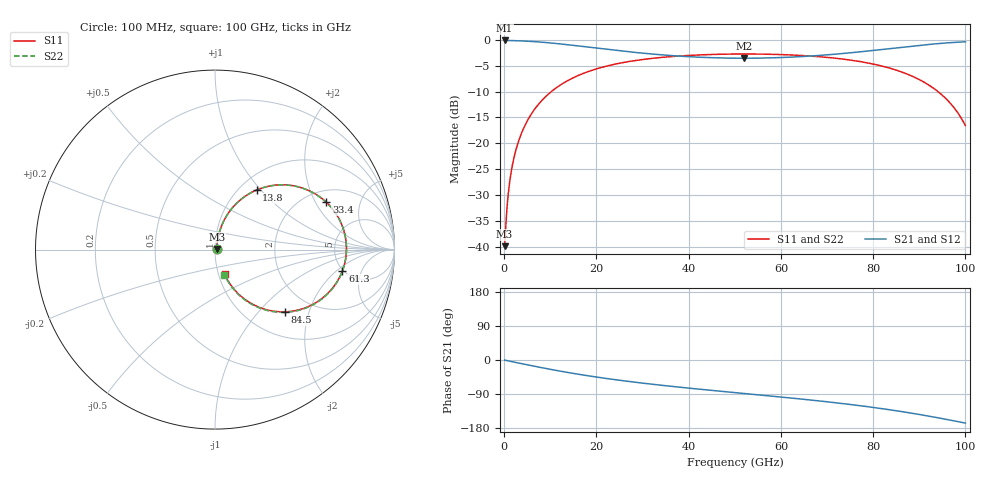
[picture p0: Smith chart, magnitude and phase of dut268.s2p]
! Touchstone file exported from HFSS 2026.1.0
!  File:  C:/ffzhzh/LocalFiles/Ansys_Project_Files/temp_train_RDL_268_1783501815_55944.aedt
!  Generated:  05:11:43 PM Jul  8, 2026
!  Design:  RDL
!  Project:  temp_train_RDL_268_1783501815_55944
! Variables:
!  h_bsmrdl = 2um
!  h_ox = 20um
!  h_rdl = 5um
!  h_sub = 80um
!  h_tmrdl = 2.04um
!  h_tsv = 80um
!  h_via = 3um
!  l_bsmrdl = 300um
!  l_sub = 966.11um
!  l_tmrdl = 566.11um
!  m_sub = 200um
!  pitch = 46.21um
!  r_tsv = 6um
!  s_tmrdl = 10um
!  w_bsmrdl = 18um
!  w_sub = 500um
!  w_tmrdl = 10.32um
!  x_tsv_center1 = 571.27um
!  x_tsv_center2 = 889.27um
!  x_tsv_center3 = 1465.7um
!  x_tsv_center4 = 1783.7um
!  x_tsv_center5 = 2360.13um
!  x_tsv_center6 = 2678.13um
# GHz S MA R 50.000000
! Terminal data exported
! Port[1] = TM_RDL1_1_T1
! Port[2] = TM_RDL1_1_T2
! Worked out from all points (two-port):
!   1000 points, 100 MHz to 100 GHz, reference 50 ohm
!   highest |S21| = -0.08 dB at 100 MHz (marker M1); lowest = -3.5 dB at 52 GHz (marker M2)
!   |S21| within 3 dB of the highest: start of sweep to 37.41 GHz; 66.72 GHz to end of sweep
!   lowest |S11| = -39.9 dB at 100 MHz (marker M3), VSWR 1.02, Z = 51 + j0.352 ohm
!   |S11| at or under -10 dB: start of sweep to 10.21 GHz; 94.08 GHz to end of sweep
!   |S22| runs from -39.9 to -2.7 dB; largest |S21 - S12| = 1.7e-14
!   S11 on the Smith chart (normalised r, x): 100 MHz: 1.02, +0.01; 13.8 GHz: 1.19, +0.95; 33.4 GHz: 2.55, +2.47; 61.3 GHz: 4.90, -2.41; 84.5 GHz: 1.47, -1.40; 100 GHz: 1.07, -0.30
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0.1  0.0101 20.0  0.9905 -0.3  0.9905 -0.3  0.0101 20.0
! Gamma 0 0 0 0
! Port Impedance 50 0 50 0
1  0.03583 70.7  0.9891 -2.6  0.9891 -2.6  0.03583 70.7
1.6  0.0553 74.6  0.9878 -4.1  0.9878 -4.1  0.05531 74.6
2.5  0.08453 76.0  0.9853 -6.4  0.9853 -6.4  0.08453 75.9
3.8  0.1264 75.0  0.9804 -9.7  0.9804 -9.7  0.1264 75.0
5.6  0.183 72.1  0.9711 -14.2  0.9711 -14.2  0.183 72.0
7.8  0.2491 67.6  0.9559 -19.5  0.9559 -19.5  0.2491 67.6
13.8  0.405 55.1  0.9002 -32.9  0.9002 -32.9  0.405 55.0
16.8  0.4683 49.2  0.8688 -39.0  0.8688 -39.0  0.4683 49.2
24.1  0.5848 36.5  0.7955 -52.0  0.7955 -52.0  0.5848 36.4
33.4  0.6738 23.1  0.7233 -65.7  0.7233 -65.7  0.6739 22.9
50.1  0.7319 3.2  0.6672 -86.1  0.6672 -86.1  0.732 3.0
52  0.7325 1.1  0.6666 -88.3  0.6666 -88.3  0.7326 0.8
61.3  0.7195 -9.5  0.6803 -99.2  0.6803 -99.2  0.7197 -9.8
66.7  0.6983 -16.0  0.7011 -105.9  0.7011 -105.9  0.6985 -16.3
75.1  0.6393 -27.1  0.7526 -117.5  0.7526 -117.5  0.6394 -27.5
83.4  0.5375 -40.0  0.8239 -131.0  0.8239 -131.0  0.5376 -40.4
84.5  0.5198 -41.8  0.8344 -133.0  0.8344 -133.0  0.52 -42.3
89.6  0.4228 -51.0  0.8837 -142.9  0.8837 -142.9  0.423 -51.5
93.8  0.3234 -59.0  0.9214 -152.0  0.9214 -152.0  0.3236 -59.5
97  0.2366 -64.8  0.945 -159.3  0.945 -159.3  0.2368 -65.4
100  0.1484 -68.7  0.9608 -166.5  0.9608 -166.5  0.1485 -69.3
